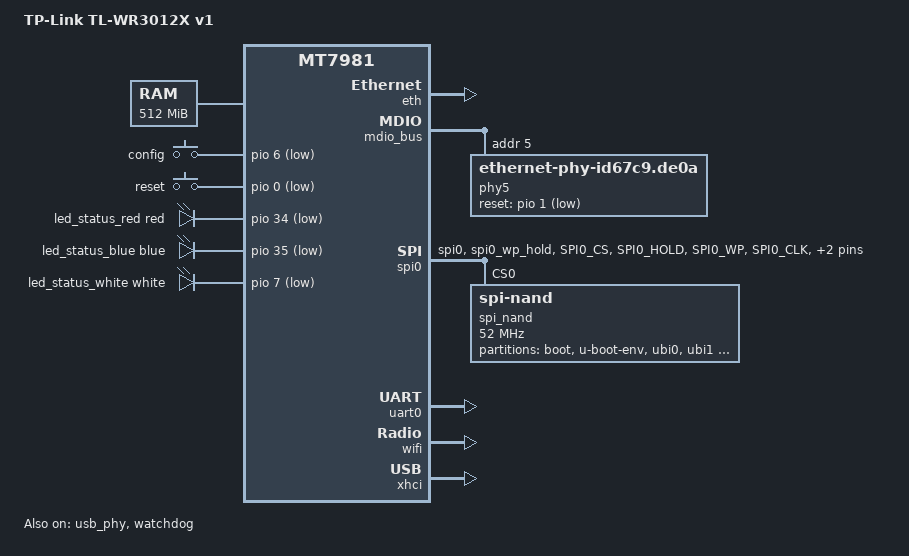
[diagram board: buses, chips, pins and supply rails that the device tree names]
// SPDX-License-Identifier: GPL-2.0-or-later OR MIT

/dts-v1/;

#include <dt-bindings/gpio/gpio.h>
#include <dt-bindings/input/input.h>
#include <dt-bindings/leds/common.h>
#include <dt-bindings/pinctrl/mt65xx.h>

#include "mt7981b.dtsi"

/ {
	model = "TP-Link TL-WR3012X v1";
	compatible = "tplink,tl-wr3012x-v1", "mediatek,mt7981";

	aliases {
		led-boot = &led_status_blue;
		led-failsafe = &led_status_red;
		led-running = &led_status_blue;
		led-upgrade = &led_status_red;
		serial0 = &uart0;
	};

	chosen {
		stdout-path = "serial0:115200n8";
	};

	memory@40000000 {
		device_type = "memory";
		reg = <0 0x40000000 0 0x20000000>;
	};

	gpio-keys {
		compatible = "gpio-keys";

		config {
			label = "config";
			linux,code = <BTN_2>;
			gpios = <&pio 6 GPIO_ACTIVE_LOW>;
		};

		reset {
			label = "reset";
			linux,code = <KEY_RESTART>;
			gpios = <&pio 0 GPIO_ACTIVE_LOW>;
		};
	};

	leds {
		compatible = "gpio-leds";

		led_status_red: led-0 {
			color = <LED_COLOR_ID_RED>;
			function = LED_FUNCTION_STATUS;
			gpios = <&pio 34 GPIO_ACTIVE_LOW>;
		};

		led_status_blue: led-1 {
			color = <LED_COLOR_ID_BLUE>;
			function = LED_FUNCTION_STATUS;
			gpios = <&pio 35 GPIO_ACTIVE_LOW>;
		};

		led_status_white: led-2 {
			color = <LED_COLOR_ID_WHITE>;
			function = LED_FUNCTION_STATUS;
			gpios = <&pio 7 GPIO_ACTIVE_LOW>;
		};
	};
};

&eth {
	pinctrl-names = "default";
	pinctrl-0 = <&mdio_pins>;
	status = "okay";

	gmac0: mac@0 {
		compatible = "mediatek,eth-mac";
		reg = <0>;
		phy-mode = "2500base-x";
		phy-handle = <&phy5>;
	};

	gmac1: mac@1 {
		compatible = "mediatek,eth-mac";
		reg = <1>;
		phy-mode = "gmii";
		phy-handle = <&int_gbe_phy>;
	};
};

&mdio_bus {
	phy5: ethernet-phy@5 {
		compatible = "ethernet-phy-id67c9.de0a";
		reg = <5>;
		reset-gpios = <&pio 1 GPIO_ACTIVE_LOW>;
		reset-assert-us = <600>;
		reset-deassert-us = <20000>;
	};
};

&pio {
	spi0_flash_pins: spi0-pins {
		mux {
			function = "spi";
			groups = "spi0", "spi0_wp_hold";
		};

		conf-pu {
			pins = "SPI0_CS", "SPI0_HOLD", "SPI0_WP";
			drive-strength = <MTK_DRIVE_8mA>;
			bias-pull-up = <MTK_PUPD_SET_R1R0_11>;
		};

		conf-pd {
			pins = "SPI0_CLK", "SPI0_MOSI", "SPI0_MISO";
			drive-strength = <MTK_DRIVE_8mA>;
			bias-pull-down = <MTK_PUPD_SET_R1R0_11>;
		};
	};
};

&spi0 {
	pinctrl-names = "default";
	pinctrl-0 = <&spi0_flash_pins>;
	status = "okay";

	spi_nand: flash@0 {
		compatible = "spi-nand";
		reg = <0>;
		spi-max-frequency = <52000000>;
		spi-tx-bus-width = <4>;
		spi-rx-bus-width = <4>;

		partitions {
			compatible = "fixed-partitions";
			#address-cells = <1>;
			#size-cells = <1>;

			partition@0 {
				label = "boot";
				reg = <0x0000000 0x0200000>;
				read-only;
			};

			partition@200000 {
				label = "u-boot-env";
				reg = <0x0200000 0x0100000>;
			};

			partition@300000 {
				label = "ubi0";
				reg = <0x0300000 0x5a00000>;
			};

			partition@5d00000 {
				label = "ubi1";
				reg = <0x5d00000 0x5a00000>;
				read-only;
			};

			partition@b700000 {
				label = "userconfig";
				reg = <0xb700000 0x0c00000>;
				read-only;
			};

			partition@c300000 {
				label = "tp_data";
				reg = <0xc300000 0x1000000>;
				read-only;
			};
		};
	};
};

&uart0 {
	status = "okay";
};

&usb_phy {
	status = "okay";
};

&watchdog {
	status = "okay";
};

&wifi {
	status = "okay";
};

&xhci {
	status = "okay";
};
